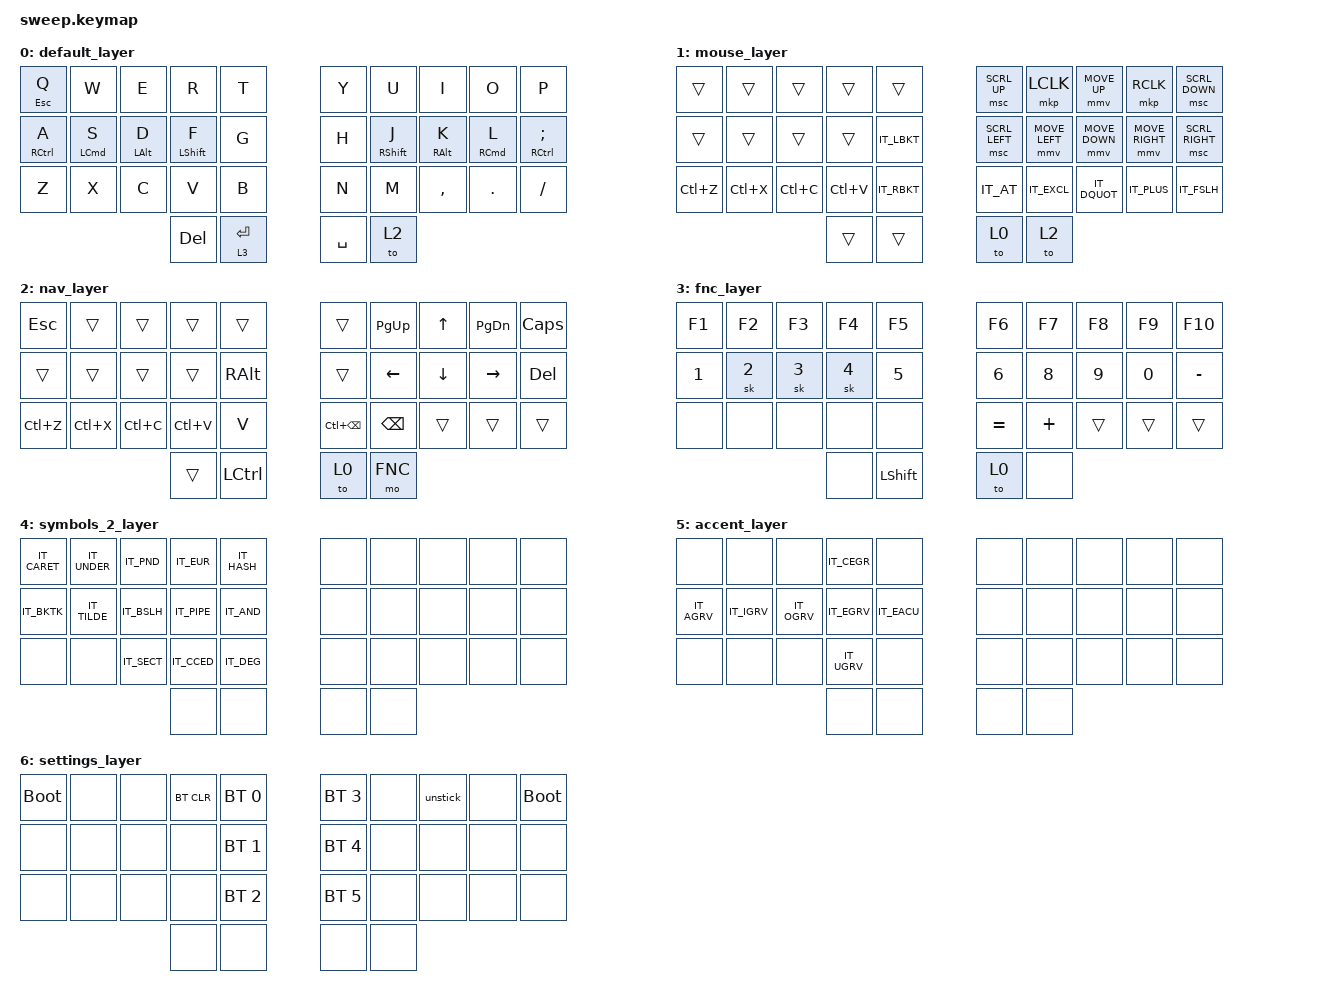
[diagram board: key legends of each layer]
/*
 * Copyright (c) 2020 The ZMK Contributors
 *
 * SPDX-License-Identifier: MIT
 */

#include <behaviors.dtsi>
#include <dt-bindings/zmk/bt.h>
#include <dt-bindings/zmk/keys.h>
#include <dt-bindings/zmk/pointing.h>
#include "keymap_italian.h"

// Layer definitions

#define BASE 0
#define SYM 1
#define EXT 2
#define FNC 3
#define SYM2 4
#define ACCENT 5
#define SETTINGS 6

// -----------------

&mt {
    //  flavor = "tap-preferred";
    // tapping_term_ms = <200>;
};

&sk { ignore-modifiers; };

/ {
    macros {
        // sometimes my device thinks a modifier is being held down
        // pressing all modifiers fixes it.

        unstick: unstick {
            label = "ZM_unstick";
            compatible = "zmk,behavior-macro";
            #binding-cells = <0>;
            bindings = <&kp LSHIFT &kp RSHIFT &kp LCTRL &kp RCTRL &kp LALT &kp RALT &kp LGUI &kp RGUI>;
        };
    };

    combos {
        compatible = "zmk,combos";

        // both right thumb keys

        combo_accent {
            timeout-ms = <300>;
            key-positions = <32 33>;
            bindings = <&mo ACCENT>;
        };

        // internal-left & external-right thumb keys

        combo_sym2 {
            timeout-ms = <200>;
            key-positions = <31 33>;
            bindings = <&mo SYM2>;
        };

        // both left thumb keys

        combo_settings {
            timeout-ms = <300>;
            key-positions = <30 31>;
            bindings = <&mo SETTINGS>;
        };
    };

    keymap {
        compatible = "zmk,keymap";

        // Base alpha layer

        default_layer {
            bindings = <
&mt ESC Q    &kp W       &kp E           &kp R        &kp T          &kp Y      &kp U        &kp I            &kp O       &kp P
&mt RCTRL A  &mt LCMD S  &mt LEFT_ALT D  &mt LSHFT F  &kp G          &kp H      &mt RSHFT J  &mt RIGHT_ALT K  &mt RCMD L  &mt RCTRL SEMICOLON
&kp Z        &kp X       &kp C           &kp V        &kp B          &kp N      &kp M        &kp COMMA        &kp DOT     &kp SLASH
                                         &kp DELETE   &lt 3 ENTER    &kp SPACE  &to 2
            >;
        };

        // Numbers and high frequency symbols

        mouse_layer {
            bindings = <
&trans     &trans     &trans     &trans     &trans         &msc SCRL_UP    &mkp LCLK       &mmv MOVE_UP    &mkp RCLK        &msc SCRL_DOWN
&trans     &trans     &trans     &trans     &kp IT_LBKT    &msc SCRL_LEFT  &mmv MOVE_LEFT  &mmv MOVE_DOWN  &mmv MOVE_RIGHT  &msc SCRL_RIGHT
&kp LC(Z)  &kp LC(X)  &kp LC(C)  &kp LC(V)  &kp IT_RBKT    &kp IT_AT       &kp IT_EXCL     &kp IT_DQUOT    &kp IT_PLUS      &kp IT_FSLH
                                 &trans     &trans         &to 0           &to 2
            >;
        };

        // Main modifiers and arrow keys

        nav_layer {
            bindings = <
&kp ESC    &trans     &trans     &trans     &trans       &trans        &kp PG_UP  &kp UP    &kp PAGE_DOWN  &kp CAPS
&trans     &trans     &trans     &trans     &kp RALT     &trans        &kp LEFT   &kp DOWN  &kp RIGHT      &kp DEL
&kp LC(Z)  &kp LC(X)  &kp LC(C)  &kp LC(V)  &kp V        &kp LC(BSPC)  &kp BSPC   &trans    &trans         &trans
                                 &trans     &kp LCTRL    &to 0         &mo FNC
            >;
        };

        // Function keys with modifiers

        fnc_layer {
            bindings = <
&kp F1        &kp F2        &kp F3        &kp F4        &kp F5       &kp F6        &kp F7    &kp F8  &kp F9  &kp F10
&kp NUMBER_1  &sk NUMBER_2  &sk NUMBER_3  &sk NUMBER_4  &kp N5       &kp NUMBER_6  &kp N8    &kp N9  &kp N0  &kp MINUS
&none         &none         &none         &none         &none        &kp EQUAL     &kp PLUS  &trans  &trans  &trans
                                          &none         &kp LSHFT    &to 0         &none
            >;
        };

        // Low frequency symbols.

        symbols_2_layer {
            bindings = <
&kp IT_CARET  &kp IT_UNDER  &kp IT_PND   &kp IT_EUR   &kp IT_HASH    &none  &none  &none  &none  &none
&kp IT_BKTK   &kp IT_TILDE  &kp IT_BSLH  &kp IT_PIPE  &kp IT_AND     &none  &none  &none  &none  &none
&none         &none         &kp IT_SECT  &kp IT_CCED  &kp IT_DEG     &none  &none  &none  &none  &none
                                         &none        &none          &none  &none
            >;
        };

        // Used to type regional accents.

        accent_layer {
            bindings = <
&none        &none        &none        &kp IT_CEGR  &none          &none  &none  &none  &none  &none
&kp IT_AGRV  &kp IT_IGRV  &kp IT_OGRV  &kp IT_EGRV  &kp IT_EACU    &none  &none  &none  &none  &none
&none        &none        &none        &kp IT_UGRV  &none          &none  &none  &none  &none  &none
                                       &none        &none          &none  &none
            >;
        };

        // Used to change the keyboard's settings.

        settings_layer {
            bindings = <
&bootloader  &none  &none  &bt BT_CLR  &bt BT_SEL 0    &bt BT_SEL 3  &none  &unstick  &none  &bootloader
&none        &none  &none  &none       &bt BT_SEL 1    &bt BT_SEL 4  &none  &none     &none  &none
&none        &none  &none  &none       &bt BT_SEL 2    &bt BT_SEL 5  &none  &none     &none  &none
                           &none       &none           &none         &none
            >;
        };
    };
};
